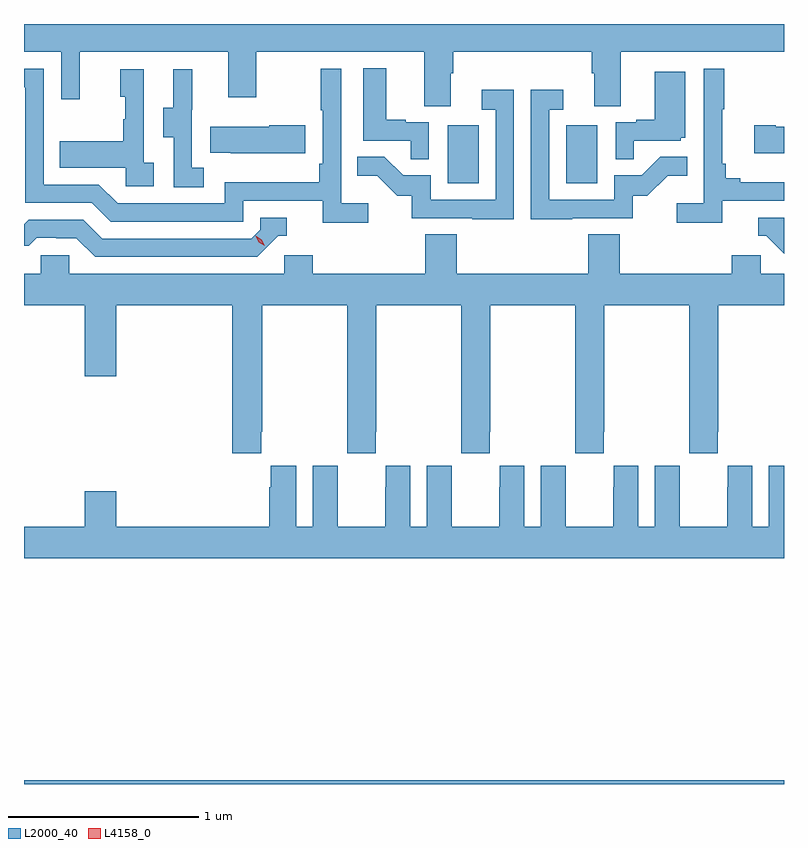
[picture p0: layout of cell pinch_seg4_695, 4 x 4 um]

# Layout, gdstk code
import gdstk
lib = gdstk.Library(unit=1e-6, precision=1e-09)
def R(c, l, rs):  # rectangles x0, y0, x1, y1
    for r in rs: c.add(gdstk.rectangle(r[:2], r[2:], *l))
def P(c, l, *ps):  # polygons
    for p in ps: c.add(gdstk.Polygon(p, *l))
L2000_40 = (2000, 40)
L4158_0 = (4158, 0)

pinch_seg4_695 = lib.new_cell('pinch_seg4_695')
R(pinch_seg4_695, L2000_40, [(1087.763,754.339,1091.763,754.36), (1089.992,757.5,1090.156,757.807), (1090.616,757.5,1090.78,757.807)])
P(pinch_seg4_695, L2000_40, [(1087.763,758.192),(1087.959,758.192),(1087.959,757.944),(1088.057,757.944),(1088.057,758.192),(1088.837,758.192),(1088.837,757.953),(1088.985,757.953),(1088.985,758.192),(1089.869,758.192),(1089.869,757.906),(1090.009,757.906),(1090.009,758.08),(1090.022,758.08),(1090.022,758.192),(1090.751,758.192),(1090.751,758.08),(1090.763,758.08),(1090.763,757.906),(1090.903,757.906),(1090.903,758.192),(1091.763,758.192),(1091.763,758.339),(1087.763,758.339)],
  [(1089.894,757.821),(1089.773,757.821),(1089.773,757.834),(1089.67,757.834),(1089.67,758.107),(1089.548,758.107),(1089.548,757.725),(1089.799,757.725),(1089.799,757.627),(1089.894,757.627)],
  [(1089.574,757.396),(1089.432,757.396),(1089.432,758.104),(1089.324,758.104),(1089.324,757.885),(1089.336,757.885),(1089.336,757.603),(1089.316,757.603),(1089.316,757.507),(1088.82,757.507),(1088.82,757.395),(1088.256,757.395),(1088.157,757.494),(1087.866,757.494),(1087.866,758.103),(1087.763,758.103),(1087.763,758.007),(1087.77,758.007),(1087.77,757.398),(1088.12,757.398),(1088.219,757.299),(1088.916,757.299),(1088.916,757.41),(1089.335,757.41),(1089.335,757.294),(1089.574,757.294)],
  [(1091.438,757.41),(1091.763,757.41),(1091.763,757.507),(1091.533,757.507),(1091.533,757.526),(1091.456,757.526),(1091.456,757.603),(1091.437,757.603),(1091.437,757.891),(1091.449,757.891),(1091.449,758.104),(1091.34,758.104),(1091.34,757.396),(1091.199,757.396),(1091.199,757.294),(1091.438,757.294)],
  [(1088.71,757.583),(1088.646,757.583),(1088.646,757.887),(1088.648,757.887),(1088.648,758.101),(1088.549,758.101),(1088.549,757.899),(1088.495,757.899),(1088.495,757.744),(1088.55,757.744),(1088.55,757.48),(1088.71,757.48)],
  [(1088.446,757.61),(1088.394,757.61),(1088.394,758.101),(1088.27,758.101),(1088.27,757.956),(1088.296,757.956),(1088.296,757.838),(1088.286,757.838),(1088.286,757.723),(1087.951,757.723),(1087.951,757.583),(1088.298,757.583),(1088.298,757.485),(1088.446,757.485)],
  [(1090.973,757.725),(1091.22,757.725),(1091.22,757.74),(1091.242,757.74),(1091.242,758.089),(1091.084,758.089),(1091.084,757.834),(1090.985,757.834),(1090.985,757.821),(1090.878,757.821),(1090.878,757.627),(1090.973,757.627)],
  [(1090.341,757.993),(1090.173,757.993),(1090.173,757.887),(1090.245,757.887),(1090.245,757.413),(1089.903,757.413),(1089.903,757.542),(1089.758,757.542),(1089.66,757.64),(1089.517,757.64),(1089.517,757.541),(1089.621,757.541),(1089.728,757.434),(1089.805,757.434),(1089.805,757.317),(1090.123,757.317),(1090.123,757.312),(1090.341,757.312)],
  [(1090.649,757.317),(1090.968,757.317),(1090.968,757.434),(1091.044,757.434),(1091.151,757.541),(1091.255,757.541),(1091.255,757.64),(1091.111,757.64),(1091.013,757.542),(1090.869,757.542),(1090.869,757.413),(1090.527,757.413),(1090.527,757.887),(1090.6,757.887),(1090.6,757.993),(1090.431,757.993),(1090.431,757.312),(1090.649,757.312)],
  [(1091.763,757.798),(1091.719,757.798),(1091.719,757.806),(1091.607,757.806),(1091.607,757.658),(1091.763,757.658)],
  [(1089.244,757.806),(1089.053,757.806),(1089.053,757.798),(1088.743,757.798),(1088.743,757.661),(1088.851,757.661),(1088.851,757.658),(1089.244,757.658)],
  [(1091.763,757.32),(1091.627,757.32),(1091.627,757.224),(1091.67,757.224),(1091.763,757.131)],
  [(1089.102,757.224),(1089.145,757.224),(1089.145,757.32),(1089.006,757.32),(1089.006,757.257),(1088.958,757.209),(1088.175,757.209),(1088.076,757.308),(1087.787,757.308),(1087.763,757.284),(1087.763,757.173),(1087.787,757.173),(1087.829,757.215),(1087.932,757.215),(1087.932,757.212),(1088.039,757.212),(1088.138,757.113),(1088.991,757.113)],
  [(1089.011,756.193),(1089.018,756.193),(1089.018,756.86),(1089.463,756.86),(1089.463,756.193),(1089.465,756.193),(1089.465,756.081),(1089.615,756.081),(1089.615,756.193),(1089.618,756.193),(1089.618,756.86),(1090.063,756.86),(1090.063,756.193),(1090.065,756.193),(1090.065,756.081),(1090.215,756.081),(1090.215,756.193),(1090.218,756.193),(1090.218,756.86),(1090.663,756.86),(1090.663,756.193),(1090.665,756.193),(1090.665,756.081),(1090.815,756.081),(1090.815,756.193),(1090.818,756.193),(1090.818,756.86),(1091.263,756.86),(1091.263,756.193),(1091.265,756.193),(1091.265,756.081),(1091.415,756.081),(1091.415,756.193),(1091.418,756.193),(1091.418,756.86),(1091.763,756.86),(1091.763,757.024),(1091.64,757.024),(1091.64,757.122),(1091.489,757.122),(1091.489,757.024),(1090.898,757.024),(1090.898,757.232),(1090.733,757.232),(1090.733,757.024),(1090.04,757.024),(1090.04,757.232),(1089.875,757.232),(1089.875,757.024),(1089.284,757.024),(1089.284,757.122),(1089.132,757.122),(1089.132,757.024),(1088.001,757.024),(1088.001,757.122),(1087.851,757.122),(1087.851,757.024),(1087.763,757.024),(1087.763,756.86),(1088.084,756.86),(1088.084,756.486),(1088.248,756.486),(1088.248,756.86),(1088.858,756.86),(1088.858,756.081),(1089.011,756.081)],
  [(1089.414,755.9),(1089.414,756.013),(1089.284,756.013),(1089.284,755.692),(1089.196,755.692),(1089.196,756.013),(1089.062,756.013),(1089.062,755.9),(1089.053,755.9),(1089.053,755.692),(1088.248,755.692),(1088.248,755.881),(1088.084,755.881),(1088.084,755.692),(1087.763,755.692),(1087.763,755.528),(1091.763,755.528),(1091.763,756.013),(1091.684,756.013),(1091.684,755.692),(1091.596,755.692),(1091.596,756.013),(1091.466,756.013),(1091.466,755.9),(1091.465,755.9),(1091.465,755.692),(1091.215,755.692),(1091.215,755.9),(1091.214,755.9),(1091.214,756.013),(1091.084,756.013),(1091.084,755.692),(1090.996,755.692),(1090.996,756.013),(1090.866,756.013),(1090.866,755.9),(1090.865,755.9),(1090.865,755.692),(1090.615,755.692),(1090.615,755.9),(1090.614,755.9),(1090.614,756.013),(1090.484,756.013),(1090.484,755.692),(1090.396,755.692),(1090.396,756.013),(1090.266,756.013),(1090.266,755.9),(1090.265,755.9),(1090.265,755.692),(1090.015,755.692),(1090.015,755.9),(1090.014,755.9),(1090.014,756.013),(1089.884,756.013),(1089.884,755.692),(1089.796,755.692),(1089.796,756.013),(1089.666,756.013),(1089.666,755.9),(1089.665,755.9),(1089.665,755.692),(1089.415,755.692),(1089.415,755.9)])
P(pinch_seg4_695, L4158_0, [(1089.03,757.172),(1088.999,757.191),(1088.983,757.223),(1088.983,757.224),(1088.983,757.224),(1089.014,757.204),(1089.03,757.172),(1089.03,757.172)])

lib.write_gds('pinch_seg4_695.gds')
